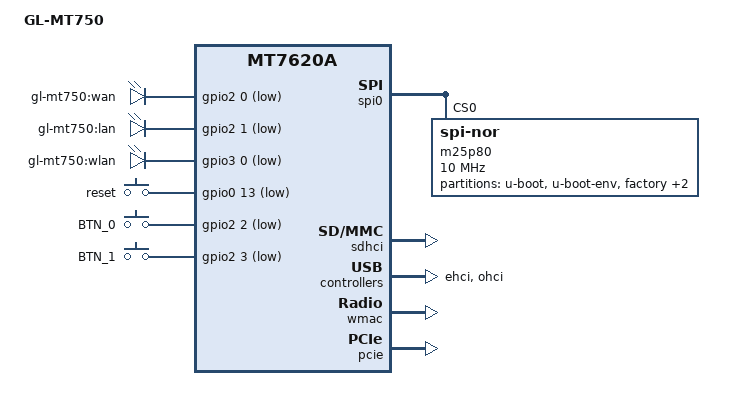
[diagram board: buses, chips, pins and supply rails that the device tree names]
/dts-v1/;

#include "mt7620a.dtsi"

#include <dt-bindings/gpio/gpio.h>
#include <dt-bindings/input/input.h>

/ {
	compatible = "glinet,gl-mt750", "ralink,mt7620a-soc";
	model = "GL-MT750";

	chosen {
		bootargs = "console=ttyS0,115200";
	};

	gpio-leds {
		compatible = "gpio-leds";

		wan {
			label = "gl-mt750:wan";
			gpios = <&gpio2 0 GPIO_ACTIVE_LOW>;
		};

		lan {
			label = "gl-mt750:lan";
			gpios = <&gpio2 1 GPIO_ACTIVE_LOW>;
		};

		wlan {
			label = "gl-mt750:wlan";
			gpios = <&gpio3 0 GPIO_ACTIVE_LOW>;
		};
	};

	gpio-keys-polled {
		compatible = "gpio-keys-polled";
		poll-interval = <20>;
		reset {
			label = "reset";
			gpios = <&gpio0 13 GPIO_ACTIVE_LOW>;
			linux,code = <KEY_RESTART>;
		};

		BTN_0 {
			label = "BTN_0";
			gpios = <&gpio2 2 GPIO_ACTIVE_LOW>;
			linux,code = <BTN_0>;
		};

		BTN_1 {
			label = "BTN_1";
			gpios = <&gpio2 3 GPIO_ACTIVE_LOW>;
			linux,code = <BTN_1>;
		};
	};
};

&gpio0 {
	status = "okay";
};

&gpio1 {
	status = "okay";
};

&gpio2 {
	status = "okay";
};

&gpio3 {
	status = "okay";
};

&spi0 {
	status = "okay";

	m25p80@0 {
		compatible = "jedec,spi-nor";
		reg = <0>;
		spi-max-frequency = <10000000>;

		partitions {
			compatible = "fixed-partitions";
			#address-cells = <1>;
			#size-cells = <1>;

			partition@0 {
				label = "u-boot";
				reg = <0x0 0x30000>;
			};

			partition@30000 {
				label = "u-boot-env";
				reg = <0x30000 0x10000>;
				read-only;
			};

			factory: partition@40000 {
				label = "factory";
				reg = <0x40000 0x10000>;
				read-only;
			};

			partition@50000 {
				compatible = "denx,uimage";
				label = "firmware";
				reg = <0x50000 0xf80000>;
			};

			partition@ff0000 {
				label = "art";
				reg = <0xff0000 0x10000>;
			};
		};
	};
};

&sdhci {
	status = "okay";
};

&ehci {
	status = "okay";
};

&ohci {
	status = "okay";
};

&ethernet {
	mtd-mac-address = <&factory 0x4000>;
	mediatek,portmap = "llllw";
};

&wmac {
	ralink,mtd-eeprom = <&factory 0>;
};

&pcie {
	status = "okay";
};

&pcie0 {
	mt76@0,0 {
		reg = <0x0000 0 0 0 0>;
		mediatek,mtd-eeprom = <&factory 0x8000>;
	};
};

&pinctrl {
	state_default: pinctrl0 {
		gpio {
			ralink,group = "wled","ephy","uartf";
			ralink,function = "gpio";
		};
	};
};
